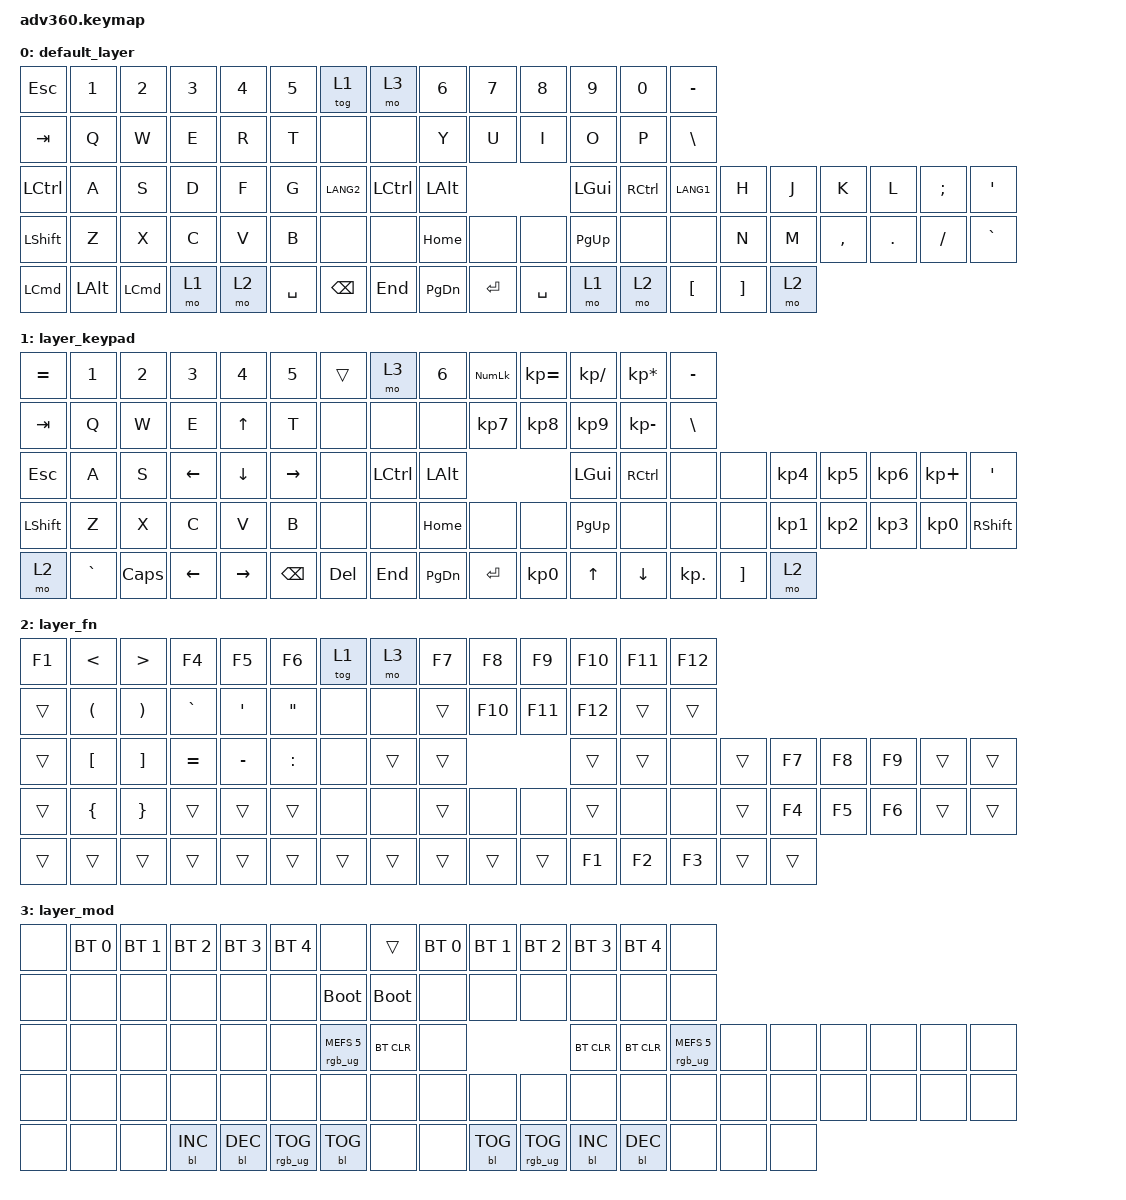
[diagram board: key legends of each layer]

/*
 * Copyright (c) 2020 The ZMK Contributors
 *
 * SPDX-License-Identifier: MIT
 */


/* THIS FILE WAS GENERATED!
 *
 * This file was generated automatically. You may or may not want to
 * edit it directly.
 */

#include <behaviors.dtsi>
#include <dt-bindings/zmk/keys.h>
#include <dt-bindings/zmk/bt.h>
#include <dt-bindings/zmk/rgb.h>
#include <dt-bindings/zmk/backlight.h>

/ {
  behaviors {
    #include "macros.dtsi"

    hm: homerow_mods {
        compatible = "zmk,behavior-hold-tap";
        label = "HOMEROW_MODS";
        #binding-cells = <2>;
        tapping-term-ms = <200>;
        quick_tap_ms = <175>;
        flavor = "tap-preferred";
        bindings = <&kp>, <&kp>;
    };
  };

    keymap {
        compatible = "zmk,keymap";


        default_layer {
            bindings = <
          &kp ESC    &kp N1            &kp N2  &kp N3  &kp N4     &kp N5                   &tog 1      &mo 3     &kp N6     &kp N7     &kp N8     &kp N9     &kp N0  &kp MINUS
          &kp TAB     &kp Q             &kp W   &kp E   &kp R      &kp T                    &none      &none      &kp Y      &kp U      &kp I      &kp O      &kp P   &kp BSLH
        &kp LCTRL     &kp A             &kp S   &kp D   &kp F      &kp G                &kp LANG2  &kp LCTRL   &kp LALT                         &kp LGUI  &kp RCTRL  &kp LANG1     &kp H   &kp J      &kp K    &kp L  &kp SEMI    &kp SQT
        &kp LSHFT     &kp Z             &kp X   &kp C   &kp V      &kp B                    &none      &none   &kp HOME      &none      &none  &kp PG_UP      &none      &none     &kp N   &kp M  &kp COMMA  &kp DOT  &kp FSLH  &kp GRAVE
 &kp LEFT_COMMAND  &kp LALT  &kp LEFT_COMMAND   &mo 1   &mo 2  &kp SPACE            &kp BACKSPACE    &kp END  &kp PG_DN  &kp ENTER  &kp SPACE      &mo 1      &mo 2   &kp LBKT  &kp RBKT   &mo 2
            >;
        };

        layer_keypad {
            bindings = <
 &kp EQUAL     &kp N1    &kp N2          &kp N3          &kp N4           &kp N5             &trans      &mo 3     &kp N6  &kp KP_NUM  &kp KP_EQUAL  &kp KP_DIVIDE  &kp KP_MULTIPLY   &kp MINUS
   &kp TAB      &kp Q     &kp W           &kp E    &kp UP_ARROW            &kp T              &none      &none      &none   &kp KP_N7     &kp KP_N8      &kp KP_N9     &kp KP_MINUS    &kp BSLH
   &kp ESC      &kp A     &kp S  &kp LEFT_ARROW  &kp DOWN_ARROW  &kp RIGHT_ARROW              &none  &kp LCTRL   &kp LALT                                 &kp LGUI        &kp RCTRL       &none     &none  &kp KP_N4  &kp KP_N5  &kp KP_N6  &kp KP_PLUS    &kp SQT
 &kp LSHFT      &kp Z     &kp X           &kp C           &kp V            &kp B              &none      &none   &kp HOME       &none         &none      &kp PG_UP            &none       &none     &none  &kp KP_N1  &kp KP_N2  &kp KP_N3    &kp KP_N0  &kp RSHFT
     &mo 2  &kp GRAVE  &kp CAPS        &kp LEFT       &kp RIGHT         &kp BSPC            &kp DEL    &kp END  &kp PG_DN   &kp ENTER     &kp KP_N0         &kp UP         &kp DOWN  &kp KP_DOT  &kp RBKT      &mo 2
            >;
        };

        layer_fn {
            bindings = <
 &kp F1         &kp LESS_THAN       &kp GREATER_THAN     &kp F4            &kp F5             &kp F6            &tog 1   &mo 3  &kp F7   &kp F8   &kp F9  &kp F10  &kp F11  &kp F12
 &trans  &kp LEFT_PARENTHESIS  &kp RIGHT_PARENTHESIS  &kp GRAVE  &kp SINGLE_QUOTE  &kp DOUBLE_QUOTES             &none   &none  &trans  &kp F10  &kp F11  &kp F12   &trans   &trans
 &trans              &kp LBKT               &kp RBKT  &kp EQUAL         &kp MINUS          &kp COLON             &none  &trans  &trans                     &trans   &trans    &none  &trans  &kp F7  &kp F8  &kp F9  &trans  &trans
 &trans        &kp LEFT_BRACE        &kp RIGHT_BRACE     &trans            &trans             &trans             &none   &none  &trans    &none    &none   &trans    &none    &none  &trans  &kp F4  &kp F5  &kp F6  &trans  &trans
 &trans                &trans                 &trans     &trans            &trans             &trans            &trans  &trans  &trans   &trans   &trans   &kp F1   &kp F2   &kp F3  &trans  &trans
            >;
        };

        layer_mod {
            bindings = <
  &none  &bt BT_SEL 0  &bt BT_SEL 1  &bt BT_SEL 2  &bt BT_SEL 3     &bt BT_SEL 4                             &none       &trans  &bt BT_SEL 0  &bt BT_SEL 1     &bt BT_SEL 2  &bt BT_SEL 3  &bt BT_SEL 4                   &none
  &none         &none         &none         &none         &none            &none                       &bootloader  &bootloader         &none         &none            &none         &none         &none                   &none
  &none         &none         &none         &none         &none            &none            &rgb_ug RGB_MEFS_CMD 5   &bt BT_CLR         &none                                   &bt BT_CLR    &bt BT_CLR  &rgb_ug RGB_MEFS_CMD 5   &none   &none   &none   &none   &none   &none
  &none         &none         &none         &none         &none            &none                             &none        &none         &none         &none            &none         &none         &none                   &none   &none   &none   &none   &none   &none   &none
  &none         &none         &none    &bl BL_INC    &bl BL_DEC  &rgb_ug RGB_TOG                        &bl BL_TOG        &none         &none    &bl BL_TOG  &rgb_ug RGB_TOG    &bl BL_INC    &bl BL_DEC                   &none   &none   &none
            >;
        };

    };
};
